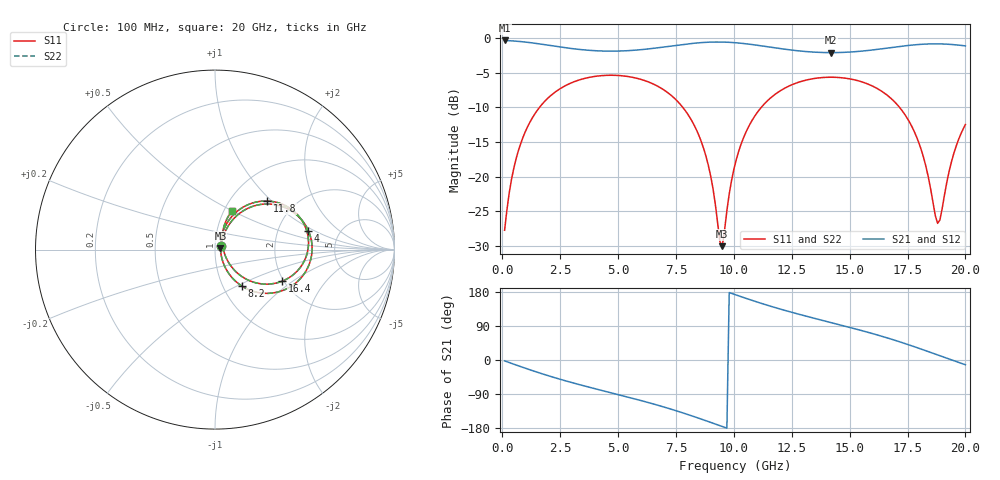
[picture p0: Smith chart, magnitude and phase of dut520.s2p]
! Touchstone file exported from HFSS 2026.1.0
!  File:  C:/ffzhzh/LocalFiles/Ansys_Project_Files/temp_train_TSV_RDL_520_1783110516_53076.aedt
!  Generated:  04:49:02 AM Jul  4, 2026
!  Design:  TSV_RDL
!  Project:  temp_train_TSV_RDL_520_1783110516_53076
! Variables:
!  h_bsmrdl = 4.13um
!  h_ox = 20um
!  h_rdl = 5um
!  h_sub = 90.2um
!  h_tmrdl = 4.22um
!  h_tsv = 90.2um
!  h_via = 3um
!  l_bsmrdl = 784.41um
!  l_sub = 6108.73um
!  l_tmrdl = 806.76um
!  m_sub = 200um
!  pitch = 45.6um
!  r_tsv = 2.66um
!  s_tmrdl = 10um
!  w_bsmrdl = 26.7um
!  w_sub = 500um
!  w_tmrdl = 16.12um
!  x_tsv_center1 = 814.82um
!  x_tsv_center2 = 1625.93um
!  x_tsv_center3 = 2448.81um
!  x_tsv_center4 = 3259.92um
!  x_tsv_center5 = 4082.8um
!  x_tsv_center6 = 4893.91um
# GHz S MA R 50.000000
! Terminal data exported
! Port[1] = TM_RDL1_1_T1
! Port[2] = TM_RDL5_1_T1
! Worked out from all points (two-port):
!   200 points, 100 MHz to 20 GHz, reference 50 ohm
!   highest |S21| = -0.30 dB at 100 MHz (marker M1); lowest = -2.1 dB at 14.2 GHz (marker M2)
!   |S21| within 3 dB of the highest: start of sweep to end of sweep
!   lowest |S11| = -30.1 dB at 9.5 GHz (marker M3), VSWR 1.06, Z = 53.1 + j0.835 ohm
!   |S11| at or under -10 dB: start of sweep to 1.605 GHz; 7.799 GHz to 11.18 GHz (3.383 GHz wide, 35.6 % of centre); 17.16 GHz to end of sweep
!   |S22| runs from -30.1 to -5.3 dB; largest |S21 - S12| = 1.1e-14
!   S11 on the Smith chart (normalised r, x): 100 MHz: 1.07, +0.05; 4 GHz: 2.98, +0.87; 8.2 GHz: 1.22, -0.53; 11.8 GHz: 1.46, +0.93; 16.4 GHz: 1.96, -0.83; 20 GHz: 1.09, +0.50
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0.1  0.04084 32.6  0.9662 -2.3  0.9662 -2.3  0.04084 32.6
! Gamma 0 0 0 0
! Port Impedance 50 0 50 0
0.5  0.1155 60.4  0.9574 -11.1  0.9574 -11.1  0.1155 60.4
1.2  0.2487 55.5  0.932 -26.0  0.932 -26.0  0.2487 55.5
2.2  0.3989 39.5  0.8816 -45.5  0.8816 -45.5  0.3989 39.5
3.5  0.5104 18.9  0.8265 -67.8  0.8265 -67.8  0.5104 18.9
4  0.5308 11.4  0.8146 -75.7  0.8146 -75.7  0.5308 11.4
5.4  0.5305 -9.2  0.8144 -97.5  0.8144 -97.5  0.5305 -9.2
6.8  0.4422 -30.9  0.8587 -120.8  0.8587 -120.8  0.4422 -30.9
8.2  0.2505 -53.8  0.9198 -147.7  0.9198 -147.7  0.2506 -53.8
8.9  0.1203 -60.4  0.9386 -162.5  0.9386 -162.5  0.1203 -60.3
9.5  0.03133 14.5  0.941 -175.5  0.941 -175.5  0.0314 14.5
10.1  0.1316 66.4  0.9294 171.6  0.9294 171.6  0.1316 66.3
10.8  0.257 59.0  0.9022 157.1  0.9022 157.1  0.257 59.0
11.8  0.3958 43.1  0.8534 138.0  0.8534 138.0  0.3959 43.1
13.4  0.5102 18.8  0.7967 111.2  0.7967 111.2  0.5102 18.8
14.2  0.5236 7.3  0.7888 98.7  0.7888 98.7  0.5236 7.3
16.4  0.4129 -25.3  0.8411 62.5  0.8411 62.5  0.4129 -25.3
16.7  0.3786 -29.9  0.854 56.9  0.854 56.9  0.3786 -29.9
17.9  0.1922 -46.0  0.9012 32.9  0.9012 32.9  0.1921 -46.0
18.8  0.04582 6.1  0.9131 13.4  0.9131 13.4  0.0455 6.0
19.4  0.1282 68.3  0.9038 0.3  0.9038 0.3  0.1281 68.4
20  0.2379 66.0  0.8825 -12.5  0.8825 -12.5  0.2378 66.1
